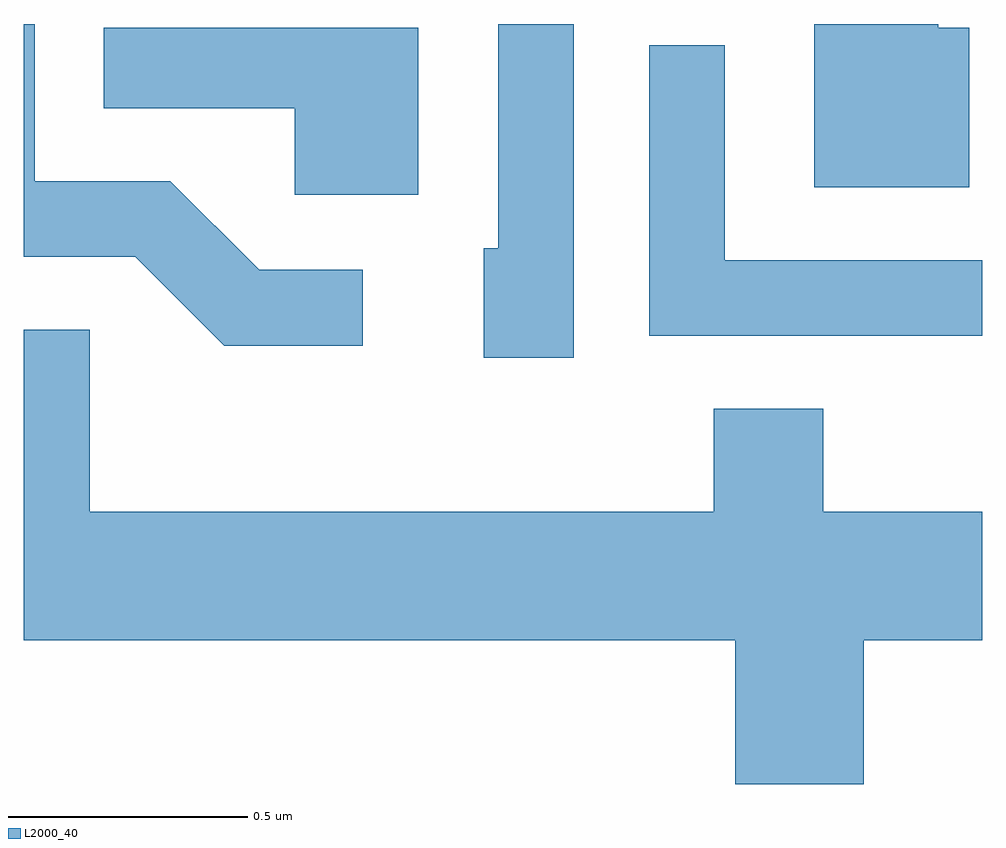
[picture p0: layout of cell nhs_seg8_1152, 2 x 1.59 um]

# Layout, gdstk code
import gdstk
lib = gdstk.Library(unit=1e-6, precision=1e-09)
def P(c, l, *ps):  # polygons
    for p in ps: c.add(gdstk.Polygon(p, *l))
L2000_40 = (2000, 40)

nhs_seg8_1152 = lib.new_cell('nhs_seg8_1152')
P(nhs_seg8_1152, L2000_40, [(194.759,1864.342),(194.601,1864.342),(194.601,1863.874),(194.571,1863.874),(194.571,1863.646),(194.759,1863.646)],
  [(195.584,1864.334),(195.519,1864.334),(195.519,1864.342),(195.261,1864.342),(195.261,1864.001),(195.584,1864.001)],
  [(194.318,1863.829),(194.102,1863.829),(193.917,1864.014),(193.634,1864.014),(193.634,1864.342),(193.611,1864.342),(193.611,1863.856),(193.844,1863.856),(194.029,1863.671),(194.318,1863.671)],
  [(194.434,1864.334),(193.778,1864.334),(193.778,1864.166),(194.176,1864.166),(194.176,1863.986),(194.434,1863.986)],
  [(195.611,1863.849),(195.074,1863.849),(195.074,1864.298),(194.916,1864.298),(194.916,1863.691),(195.611,1863.691)],
  [(195.364,1863.056),(195.611,1863.056),(195.611,1863.324),(195.279,1863.324),(195.279,1863.539),(195.051,1863.539),(195.051,1863.324),(193.749,1863.324),(193.749,1863.704),(193.611,1863.704),(193.611,1863.056),(195.096,1863.056),(195.096,1862.756),(195.364,1862.756)])

lib.write_gds('nhs_seg8_1152.gds')
